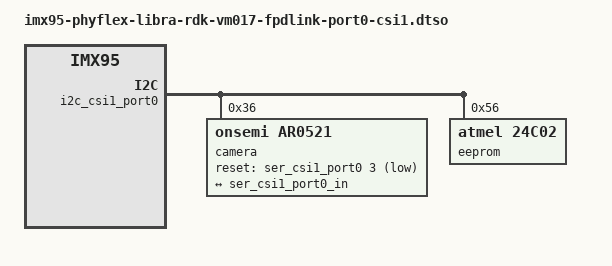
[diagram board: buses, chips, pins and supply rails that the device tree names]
// SPDX-License-Identifier: (GPL-2.0+ OR MIT)
/*
 * Copyright (C) 2025 PHYTEC Messtechnik GmbH
 * Author: Stefan Riedmüller <s.riedmueller@phytec.de>
 */

/dts-v1/;
/plugin/;

#include "imx95-phyflex-libra-rdk-fpdlink-port0-csi1.dtsi"
#include <dt-bindings/gpio/gpio.h>
#include <dt-bindings/media/video-interfaces.h>

&i2c_csi1_port0 {
	camera@36 {
		#address-cells = <0x1>;
		#size-cells = <0x0>;

		compatible = "onsemi,ar0521";
		reg = <0x36>;
		clocks = <&ser_csi1_port0>;
		clock-names = "ext";
		orientation = <2>;
		rotation = <0>;

		assigned-clocks = <&ser_csi1_port0>;
		assigned-clock-rates = <26666666>;

		reset-gpios = <&ser_csi1_port0 3 GPIO_ACTIVE_LOW>;
		onsemi,reset-delay-ms = <100>;

		port@0 {
			reg = <0>;

			vm017_csi1_port0_ep: endpoint {
				remote-endpoint = <&ser_csi1_port0_in>;
				bus-type = <MEDIA_BUS_TYPE_CSI2_DPHY>;
				link-frequencies = /bits/ 64 <288000000>;
				data-lanes = <1 2 3 4>;
				clock-lanes = <0>;
				clock-noncontinuous = <1>;
			};
		};
	};

	eeprom@56 {
		compatible = "atmel,24c02";
		reg = <0x56>;
		pagesize = <16>;
	};
};

&ser_csi1_port0_in {
	remote-endpoint = <&vm017_csi1_port0_ep>;
	data-lanes = <1 2 3 4>;
};
